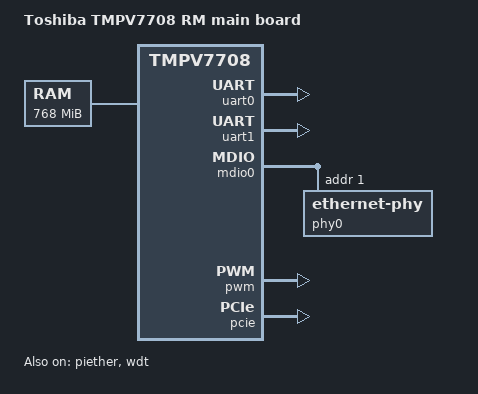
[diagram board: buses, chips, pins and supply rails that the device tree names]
// SPDX-License-Identifier: (GPL-2.0+ OR MIT)
/*
 * Device Tree File for TMPV7708 RM main board
 *
 * (C) Copyright 2020, Toshiba Corporation.
 * (C) Copyright 2020, Nobuhiro Iwamatsu <nobuhiro1.iwamatsu@toshiba.co.jp>
 */

/dts-v1/;

#include "tmpv7708.dtsi"

/ {
	model = "Toshiba TMPV7708 RM main board";
	compatible = "toshiba,tmpv7708-rm-mbrc", "toshiba,tmpv7708";

	aliases {
		serial0 = &uart0;
		serial1 = &uart1;
	};

	chosen {
		stdout-path = "serial0:115200n8";
	};

	/* 768MB memory */
	memory@80000000 {
		device_type = "memory";
		reg = <0x0 0x80000000 0x0 0x30000000>;
	};
};

&uart0 {
	status = "okay";
};

&uart1 {
	status = "okay";
};

&piether {
	status = "okay";
	phy-handle = <&phy0>;
	phy-mode = "rgmii-id";

	mdio0 {
		#address-cells = <1>;
		#size-cells = <0>;
		compatible = "snps,dwmac-mdio";
		phy0: ethernet-phy@1 {
			device_type = "ethernet-phy";
			reg = <0x1>;
		};
	};
};

&wdt {
	status = "okay";
};

&gpio {
	status = "okay";
};

&pwm_mux {
	groups = "pwm0_gpio16_grp", "pwm1_gpio17_grp", "pwm2_gpio18_grp", "pwm3_gpio19_grp";
};

&pwm {
	status = "okay";
};

&pcie {
	status = "okay";
};
